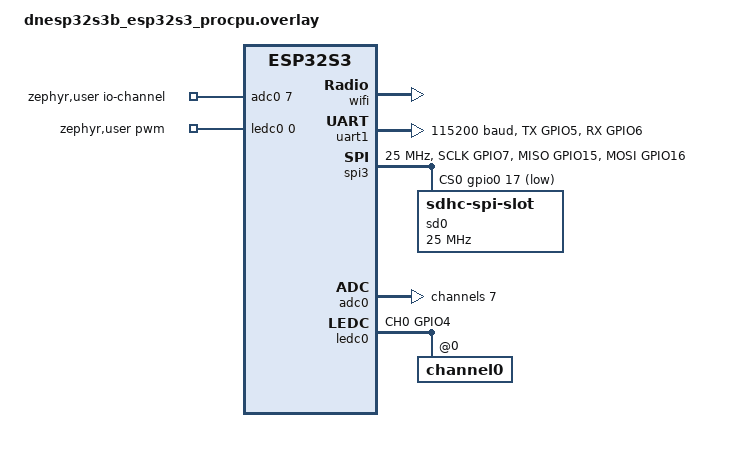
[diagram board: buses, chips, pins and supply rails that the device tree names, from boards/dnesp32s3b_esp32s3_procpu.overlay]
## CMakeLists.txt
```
# SPDX-License-Identifier: Apache-2.0

cmake_minimum_required(VERSION 3.20.0)

find_package(Zephyr REQUIRED HINTS $ENV{ZEPHYR_BASE})
project(neurolink_unit)

zephyr_include_directories(
  include
  include/runtime
)

target_sources(app PRIVATE
  src/main.c
  src/neuro_unit.c
  src/neuro_unit_dispatch.c
  src/neuro_unit_diag.c
  src/neuro_unit_response.c
  src/neuro_unit_update_service.c
  src/neuro_artifact_store.c
  src/neuro_app_command_registry.c
  src/neuro_app_callback_bridge.c
  src/neuro_state_registry.c
  src/neuro_unit_app_command.c
  src/neuro_update_manager.c
  src/neuro_recovery_seed_store.c
  src/neuro_lease_manager.c
  src/neuro_network_manager.c
  src/neuro_request_envelope.c
  src/neuro_request_policy.c
  src/neuro_protocol_codec.c
  src/neuro_unit_event.c
  src/zenoh/neuro_unit_zenoh_config.c
  src/zenoh/neuro_unit_zenoh.c
  src/neuro_unit_llext_exports.c
  src/runtime/app_runtime_exception.c
  src/runtime/app_runtime_elf_staging.c
  src/runtime/app_runtime.c
  src/runtime/app_runtime_cmd.c
  src/shell/neuro_unit_shell.c
  src/shell/neuro_unit_shell_lifecycle.c
  src/shell/neuro_unit_shell_network.c
  src/shell/neuro_unit_shell_storage.c
  src/shell/neuro_unit_shell_zenoh.c
  src/port/neuro_unit_port_contract.c
  src/port/neuro_unit_port_generic.c
  src/port/neuro_unit_port_generic_dnesp32s3b.c
)

target_sources_ifdef(CONFIG_NEUROLINK_PROTOCOL_CBOR app PRIVATE
  src/neuro_protocol_codec_cbor.c
)

target_include_directories(app PRIVATE
  include/port
)

if(CONFIG_NEUROLINK_ZENOH_PICO_DEBUG)
  target_compile_definitions(app PRIVATE
    ZENOH_LOG_DEBUG
    ZENOH_DEBUG=${CONFIG_NEUROLINK_ZENOH_PICO_DEBUG_LEVEL}
  )
endif()
```

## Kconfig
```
source "Kconfig.zephyr"

menu "NeuroLink Unit"

config NEUROLINK_NODE_ID
	string "NeuroLink node id"
	default "unit-01"
	help
	  Node id used in neuro key expressions and event payload metadata.

config NEUROLINK_ZENOH_MODE
	string "Zenoh mode"
	default "client"
	help
	  Zenoh session mode passed to Z_CONFIG_MODE_KEY.

config NEUROLINK_ZENOH_CONNECT
	string "Zenoh connect endpoint"
	default "tcp/192.168.2.95:7447"
	help
	  Default zenoh connect locator. Runtime override can replace this value.

config NEUROLINK_ZENOH_PICO_DEBUG
	bool "Enable zenoh-pico debug logs"
	default n
	help
	  Enable low-level zenoh-pico transport/session debug logs through
	  compile-time debug macros. Keep this disabled for the release default
	  path to avoid flooding the system logger during activate/update flows;
	  enable it explicitly for transport diagnostics.

config NEUROLINK_ZENOH_PICO_DEBUG_LEVEL
	int "zenoh-pico debug verbosity"
	range 0 3
	default 3 if NEUROLINK_ZENOH_PICO_DEBUG
	default 0
	help
	  Debug verbosity value passed to ZENOH_DEBUG. 0 disables detailed
	  traces; 3 enables maximum transport/session diagnostics.

config NEUROLINK_UNIT_DEBUG_MODE
	bool "Enable NeuroLink Unit framework debug mode"
	default n
	help
	  Enables framework-level diagnostics for Unit modules. This setting
	  is independent from zenoh-pico transport debug logs and is intended
	  for release-grade troubleshooting of Unit lifecycle flows.

config NEUROLINK_UNIT_DEBUG_VERBOSE_EVENTS
	bool "Enable verbose Unit event diagnostics"
	depends on NEUROLINK_UNIT_DEBUG_MODE
	default y
	help
	  Adds detailed event build/publish traces for Unit event helpers.

config NEUROLINK_UNIT_DEBUG_VERBOSE_STATE
	bool "Enable verbose Unit state diagnostics"
	depends on NEUROLINK_UNIT_DEBUG_MODE
	default y
	help
	  Adds detailed state snapshot traces when semantic state transitions
	  are committed to the Unit state registry.

config NEUROLINK_PROTOCOL_CBOR
	bool "Enable NeuroLink CBOR-v2 protocol codec support"
	default y
	select ZCBOR
	select ZCBOR_CANONICAL
	help
	  Builds the zcbor-backed NeuroLink CBOR-v2 codec facade. This does
	  not by itself switch runtime Zenoh payloads away from JSON-v2; the
	  runtime cutover is controlled by later protocol call-site changes.

config NEUROLINK_APP_STATIC_ELF_BUFFER_SIZE
	int "Static LLEXT ELF staging buffer size"
	default 0
	help
	  Reserves a dedicated RAM buffer for staging one LLEXT ELF before
	  llext_load(). This avoids relying on a large contiguous malloc block
	  after networking and Zenoh have fragmented the general system heap.

config NEUROLINK_APP_PREFER_EXTERNAL_ELF_BUFFER
	bool "Prefer external memory for LLEXT ELF staging buffer"
	default n
	help
	  Allocate the transient LLEXT ELF staging buffer from the active Unit
	  port memory provider before falling back to the static internal-RAM
	  buffer or malloc. Keep this experimental until provider-specific
	  hardware smoke proves LLEXT loading is safe from external memory.

config NEUROLINK_APP_PREFER_PSRAM_ELF_BUFFER
	bool "Legacy alias: prefer PSRAM for LLEXT ELF staging buffer"
	depends on ESP_SPIRAM
	select NEUROLINK_APP_PREFER_EXTERNAL_ELF_BUFFER
	default n
	help
	  Compatibility symbol for existing ESP32-S3 experiments. New code should
	  use NEUROLINK_APP_PREFER_EXTERNAL_ELF_BUFFER so external staging is
	  expressed through the port memory provider contract rather than through
	  an ESP-specific runtime policy name.

config NEUROLINK_APP_MAX_LOADED
	int "Maximum loaded LLEXT apps"
	range 0 16
	default 2
	help
	  Maximum number of apps that may be loaded at the same time. Use 0 for
	  no explicit Unit policy limit. Low-memory boards should keep this bounded
	  so LLEXT heap pressure fails predictably instead of growing until runtime
	  allocation fails.

config NEUROLINK_APP_MAX_RUNNING
	int "Maximum running LLEXT apps"
	range 1 16
	default 2
	help
	  Maximum number of apps that may be running at the same time. This value
	  must not exceed NEUROLINK_APP_MAX_LOADED when the loaded limit is nonzero.

config NEUROLINK_APP_REJECT_STAGING_TEXT_EXEC
	bool "Reject LLEXT text mapped directly from the ELF staging buffer"
	default n
	help
	  Fail app load if the loaded LLEXT text region points inside the ELF file
	  staging buffer. This protects targets such as ESP32-S3 from entering app
	  callbacks when writable LLEXT storage reuses a DRAM staging alias for
	  executable text.

config NEUROLINK_APP_FIXUP_STAGING_TEXT_ALIAS
	bool "Map staged LLEXT text metadata to the executable address alias"
	default n
	depends on NEUROLINK_APP_REJECT_STAGING_TEXT_EXEC
	help
	  After a successful LLEXT load, rewrite NeuroLink-visible extension text
	  metadata from a writable staging-buffer data alias to the architecture's
	  executable alias when such an alias is defined. This is an isolated
	  candidate for ESP32-S3 style IRAM/DRAM aliases and keeps Zephyr LLEXT
	  source unchanged.

endmenu
```

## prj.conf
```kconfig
CONFIG_LOG=y
CONFIG_LOG_DEFAULT_LEVEL=3

CONFIG_SHELL=y
CONFIG_SHELL_BACKEND_SERIAL=y
CONFIG_SHELL_STACK_SIZE=4096

CONFIG_GPIO=y
CONFIG_I2C=y
CONFIG_ADC=y
CONFIG_PWM=y
CONFIG_POSIX_API=y

CONFIG_NETWORKING=y
CONFIG_NET_NATIVE=y
CONFIG_NET_SOCKETS=y
CONFIG_NET_TCP=y
CONFIG_NET_UDP=y
CONFIG_NET_IPV4=y
CONFIG_NET_DHCPV4=y
CONFIG_NET_L2_ETHERNET=y
CONFIG_NET_L2_WIFI_MGMT=y
CONFIG_WIFI=y
CONFIG_WIFI_NM=y
CONFIG_NET_MGMT=y
CONFIG_NET_MGMT_EVENT=y
CONFIG_NET_MGMT_EVENT_INFO=y
CONFIG_DNS_RESOLVER=y
CONFIG_NET_PKT_RX_COUNT=20
CONFIG_NET_PKT_TX_COUNT=20
CONFIG_NET_BUF_RX_COUNT=48
CONFIG_NET_BUF_TX_COUNT=48
CONFIG_ESP_SPIRAM=y
CONFIG_SPIRAM_MODE_OCT=y
CONFIG_ESP_SPIRAM_HEAP_SIZE=2097152
CONFIG_ESP_WIFI_HEAP_SPIRAM=y
CONFIG_ESP32_WIFI_NET_ALLOC_SPIRAM=y

CONFIG_DISK_ACCESS=y
CONFIG_FILE_SYSTEM=y
CONFIG_FAT_FILESYSTEM_ELM=y
CONFIG_FS_FATFS_LFN=y
CONFIG_FS_FATFS_MOUNT_MKFS=y
CONFIG_SDHC=y
CONFIG_DISK_DRIVER_SDMMC=y

CONFIG_LLEXT=y
CONFIG_LLEXT_EDK=y
CONFIG_LLEXT_TYPE_ELF_RELOCATABLE=y
CONFIG_LLEXT_IMPORT_ALL_GLOBALS=y
CONFIG_LLEXT_EXPORT_DEVICES=y
CONFIG_LLEXT_EXPORT_SYMBOL_GROUP_DEVICE=y
CONFIG_LLEXT_HEAP_SIZE=64
CONFIG_LLEXT_LOG_LEVEL_DBG=y

CONFIG_ZENOH_PICO=y
CONFIG_ZENOH_PICO_MULTI_THREAD=y
CONFIG_ZENOH_PICO_PUBLICATION=y
CONFIG_ZENOH_PICO_QUERY=y
CONFIG_ZENOH_PICO_QUERYABLE=y
CONFIG_ZENOH_PICO_LINK_TCP=y
CONFIG_ZENOH_PICO_LINK_UDP_UNICAST=y
CONFIG_ZENOH_PICO_SCOUTING=y
CONFIG_MAX_PTHREAD_MUTEX_COUNT=24
CONFIG_MAX_PTHREAD_COND_COUNT=12
CONFIG_SYS_HEAP_RUNTIME_STATS=y

CONFIG_MAIN_STACK_SIZE=18432
CONFIG_SYSTEM_WORKQUEUE_STACK_SIZE=5120
CONFIG_HEAP_MEM_POOL_SIZE=53248
CONFIG_NEUROLINK_APP_PREFER_EXTERNAL_ELF_BUFFER=n
CONFIG_NEUROLINK_APP_PREFER_PSRAM_ELF_BUFFER=n
CONFIG_NEUROLINK_APP_STATIC_ELF_BUFFER_SIZE=32768
CONFIG_NEUROLINK_APP_MAX_LOADED=2
CONFIG_NEUROLINK_APP_MAX_RUNNING=2
CONFIG_NEUROLINK_APP_REJECT_STAGING_TEXT_EXEC=y
CONFIG_NEUROLINK_APP_FIXUP_STAGING_TEXT_ALIAS=y
```

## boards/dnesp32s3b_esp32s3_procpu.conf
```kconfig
CONFIG_WIFI_ESP32=y
CONFIG_NEUROLINK_NODE_ID="unit-01"
CONFIG_NEUROLINK_ZENOH_MODE="client"
CONFIG_NEUROLINK_ZENOH_CONNECT="tcp/192.168.2.94:7447"
```

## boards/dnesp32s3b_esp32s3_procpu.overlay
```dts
#include <zephyr/dt-bindings/adc/adc.h>
#include <zephyr/dt-bindings/pwm/pwm.h>

&wifi {
	status = "okay";
};

&pinctrl {
	uart1_j3_default: uart1_j3_default {
		group1 {
			pinmux = <UART1_TX_GPIO5>;
			output-high;
		};

		group2 {
			pinmux = <UART1_RX_GPIO6>;
			bias-pull-up;
		};
	};

	spim3_default: spim3_default {
		group1 {
			pinmux = <SPIM3_SCLK_GPIO7>,
				 <SPIM3_MISO_GPIO15>;
		};

		group2 {
			pinmux = <SPIM3_MOSI_GPIO16>;
			output-low;
		};
	};

	ledc0_neurolink_default: ledc0_neurolink_default {
		group1 {
			pinmux = <LEDC_CH0_GPIO4>;
			output-enable;
			bias-disable;
		};
	};
};

&{/chosen} {
	neurolink,uart-loopback = &uart1;
};

&uart1 {
	status = "okay";
	pinctrl-0 = <&uart1_j3_default>;
	pinctrl-names = "default";
	current-speed = <115200>;
};

&spi3 {
	status = "okay";
	#address-cells = <1>;
	#size-cells = <0>;
	pinctrl-0 = <&spim3_default>;
	pinctrl-names = "default";
	clock-frequency = <25000000>;
	cs-gpios = <&gpio0 17 GPIO_ACTIVE_LOW>;

	sd0: sd@0 {
		compatible = "zephyr,sdhc-spi-slot";
		reg = <0>;
		status = "okay";
		spi-max-frequency = <25000000>;

		mmc {
			compatible = "zephyr,sdmmc-disk";
			disk-name = "SD";
			status = "okay";
		};
	};
};

&adc0 {
	status = "okay";
	#address-cells = <1>;
	#size-cells = <0>;

	channel@7 {
		reg = <7>;
		zephyr,gain = "ADC_GAIN_1_4";
		zephyr,reference = "ADC_REF_INTERNAL";
		zephyr,acquisition-time = <ADC_ACQ_TIME_DEFAULT>;
		zephyr,resolution = <12>;
	};
};

&ledc0 {
	status = "okay";
	pinctrl-0 = <&ledc0_neurolink_default>;
	pinctrl-names = "default";
	#address-cells = <1>;
	#size-cells = <0>;

	channel0@0 {
		reg = <0>;
		timer = <0>;
	};
};

/ {
	zephyr,user {
		io-channels = <&adc0 7>;
		pwms = <&ledc0 0 PWM_HZ(1000) PWM_POLARITY_INVERTED>;
	};
};
```

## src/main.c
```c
#include <zephyr/kernel.h>
#include <zephyr/logging/log.h>

#include "app_runtime.h"
#include "neuro_unit_port.h"
#include "neuro_unit.h"

LOG_MODULE_REGISTER(neurolink_unit_main, LOG_LEVEL_INF);

static size_t app_policy_limit_from_config(int limit)
{
	return limit == 0 ? APP_RT_POLICY_NO_LIMIT : (size_t)limit;
}

int main(void)
{
	int ret;
	struct app_runtime_policy policy = {
		.max_loaded_apps = app_policy_limit_from_config(
			CONFIG_NEUROLINK_APP_MAX_LOADED),
		.max_running_apps = (size_t)CONFIG_NEUROLINK_APP_MAX_RUNNING,
		.allow_preemptive_suspend = true,
	};

	ret = neuro_unit_port_init();
	if (ret) {
		LOG_ERR("unit port init failed: %d", ret);
		return ret;
	}

	ret = app_runtime_init();
	if (ret) {
		LOG_ERR("app runtime init failed: %d", ret);
		return ret;
	}

	ret = app_runtime_set_policy(&policy);
	if (ret) {
		LOG_ERR("app runtime set policy failed: %d", ret);
		return ret;
	}

	ret = neuro_unit_start();
	if (ret) {
		LOG_ERR("neuro unit start failed: %d", ret);
		return ret;
	}

	LOG_INF("NeuroLink unit bootstrap initialized for node '%s'",
		CONFIG_NEUROLINK_NODE_ID);

	while (true) {
		k_sleep(K_SECONDS(60));
	}

	return 0;
}
```

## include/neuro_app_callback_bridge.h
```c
#ifndef NEURO_APP_CALLBACK_BRIDGE_H
#define NEURO_APP_CALLBACK_BRIDGE_H

#include <stddef.h>

#ifdef __cplusplus
extern "C" {
#endif

/* Runtime callback adapter boundary.
 *
 * App command service owns registry lookup, lease policy, reply shaping, and
 * service-level error mapping. This bridge owns only the call into app_runtime
 * and the runtime callback reply-buffer normalization contract.
 */
int neuro_app_callback_bridge_dispatch(const char *app_id,
	const char *command_name, const char *request_json, char *reply_buf,
	size_t reply_buf_len);

#ifdef __cplusplus
}
#endif

#endif
```

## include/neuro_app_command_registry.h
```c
#ifndef NEURO_APP_COMMAND_REGISTRY_H
#define NEURO_APP_COMMAND_REGISTRY_H

#include <stdbool.h>
#include <stddef.h>
#include <stdint.h>

#ifdef __cplusplus
extern "C" {
#endif

#define NEURO_APP_ID_MAX_LEN 31
#define NEURO_APP_COMMAND_NAME_MAX_LEN 31

enum neuro_app_command_state {
	NEURO_APPCMD_STATE_UNREGISTERED = 0,
	NEURO_APPCMD_STATE_REGISTERING,
	NEURO_APPCMD_STATE_REGISTERED,
	NEURO_APPCMD_STATE_ENABLED,
	NEURO_APPCMD_STATE_DISABLED,
	NEURO_APPCMD_STATE_FAILED,
	NEURO_APPCMD_STATE_REMOVED,
};

struct neuro_app_command_desc {
	char app_id[NEURO_APP_ID_MAX_LEN + 1];
	char command_name[NEURO_APP_COMMAND_NAME_MAX_LEN + 1];
	uint8_t visibility;
	bool lease_required;
	bool idempotent;
	uint32_t timeout_ms;
	uint8_t state;
};

int neuro_app_command_registry_init(void);
int neuro_app_command_registry_register(
	const struct neuro_app_command_desc *desc);
int neuro_app_command_registry_register_descriptors(const char *app_id,
	const struct neuro_app_command_desc *descs, size_t desc_count);
int neuro_app_command_registry_set_enabled(
	const char *app_id, const char *command_name, bool enabled);
int neuro_app_command_registry_set_app_enabled(
	const char *app_id, bool enabled);
int neuro_app_command_registry_remove_app(const char *app_id);
int neuro_app_command_registry_find(const char *app_id,
	const char *command_name, struct neuro_app_command_desc *out);

#ifdef __cplusplus
}
#endif

#endif
```

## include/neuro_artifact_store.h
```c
#ifndef NEURO_ARTIFACT_STORE_H
#define NEURO_ARTIFACT_STORE_H

#include <stdbool.h>
#include <stddef.h>

#ifdef __cplusplus
extern "C" {
#endif

#define NEURO_ARTIFACT_STORE_MAX_ENTRIES 4

enum neuro_artifact_state {
	NEURO_ARTIFACT_NONE = 0,
	NEURO_ARTIFACT_STAGED,
	NEURO_ARTIFACT_VERIFIED,
	NEURO_ARTIFACT_ACTIVE,
	NEURO_ARTIFACT_INVALID,
};

struct neuro_artifact_meta {
	bool used;
	char app_id[32];
	char transport[16];
	char artifact_key[128];
	char path[128];
	size_t size_bytes;
	size_t chunk_size;
	size_t chunks_received;
	enum neuro_artifact_state state;
};

struct neuro_artifact_store {
	struct neuro_artifact_meta entries[NEURO_ARTIFACT_STORE_MAX_ENTRIES];
};

void neuro_artifact_store_init(struct neuro_artifact_store *store);
int neuro_artifact_store_stage(struct neuro_artifact_store *store,
	const char *app_id, const char *transport, const char *artifact_key,
	const char *path, size_t size_bytes, size_t chunk_size,
	size_t chunks_received);
int neuro_artifact_store_set_state(struct neuro_artifact_store *store,
	const char *app_id, enum neuro_artifact_state state);
int neuro_artifact_store_remove(
	struct neuro_artifact_store *store, const char *app_id);
size_t neuro_artifact_store_export_entries(
	const struct neuro_artifact_store *store,
	struct neuro_artifact_meta *entries, size_t max_entries);
int neuro_artifact_store_import_entries(struct neuro_artifact_store *store,
	const struct neuro_artifact_meta *entries, size_t entry_count);
const struct neuro_artifact_meta *neuro_artifact_store_get(
	const struct neuro_artifact_store *store, const char *app_id);

#ifdef __cplusplus
}
#endif

#endif
```

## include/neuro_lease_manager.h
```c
#ifndef NEURO_LEASE_MANAGER_H
#define NEURO_LEASE_MANAGER_H

#include <stdbool.h>
#include <stdint.h>
#include <stddef.h>

#include "neuro_request_envelope.h"

#ifdef __cplusplus
extern "C" {
#endif

#define NEURO_LEASE_MANAGER_MAX_ENTRIES 4

struct neuro_lease_entry {
	bool active;
	char lease_id[32];
	char resource[48];
	char source_core[24];
	char source_agent[24];
	int priority;
	int64_t expires_at_ms;
};

struct neuro_lease_manager {
	struct neuro_lease_entry entries[NEURO_LEASE_MANAGER_MAX_ENTRIES];
};

struct neuro_lease_acquire_result {
	struct neuro_lease_entry acquired;
	bool preempted;
	struct neuro_lease_entry preempted_entry;
};

void neuro_lease_manager_init(struct neuro_lease_manager *manager);

int neuro_lease_manager_expire_all(struct neuro_lease_manager *manager);

void neuro_lease_manager_prune_expired(
	struct neuro_lease_manager *manager, int64_t now_ms);

int neuro_lease_manager_acquire(struct neuro_lease_manager *manager,
	const char *resource, const struct neuro_request_metadata *metadata,
	int ttl_ms, int64_t now_ms, struct neuro_lease_acquire_result *result);

int neuro_lease_manager_release(struct neuro_lease_manager *manager,
	const struct neuro_request_metadata *metadata, int64_t now_ms,
	struct neuro_lease_entry *released);

int neuro_lease_manager_require_resource(struct neuro_lease_manager *manager,
	const char *resource, const struct neuro_request_metadata *metadata,
	int64_t now_ms);

const struct neuro_lease_entry *neuro_lease_manager_entry_at(
	const struct neuro_lease_manager *manager, size_t index);

#ifdef __cplusplus
}
#endif

#endif
```

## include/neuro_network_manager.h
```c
#ifndef NEURO_NETWORK_MANAGER_H
#define NEURO_NETWORK_MANAGER_H

#include <stdbool.h>

#include <zephyr/net/net_ip.h>

#ifdef __cplusplus
extern "C" {
#endif

enum neuro_network_state {
	NEURO_NETWORK_DOWN = 0,
	NEURO_NETWORK_ADAPTER_READY,
	NEURO_NETWORK_LINK_READY,
	NEURO_NETWORK_ADDRESS_READY,
	NEURO_NETWORK_TRANSPORT_READY,
	NEURO_NETWORK_READY,
	NEURO_NETWORK_DEGRADED,
	NEURO_NETWORK_FAILED,
};

struct neuro_network_status {
	enum neuro_network_state state;
	bool iface_present;
	bool iface_up;
	bool address_ready;
	bool transport_ready;
	int ifindex;
	char ipv4_addr[NET_IPV4_ADDR_LEN];
};

int neuro_network_manager_collect_status(
	const char *transport_endpoint, struct neuro_network_status *status);
bool neuro_network_manager_is_ready(const struct neuro_network_status *status);
const char *neuro_network_state_to_str(enum neuro_network_state state);

#ifdef __cplusplus
}
#endif

#endif
```

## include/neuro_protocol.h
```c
/* SPDX-License-Identifier: Apache-2.0 */

#ifndef NEURO_PROTOCOL_H
#define NEURO_PROTOCOL_H

#include <zephyr/sys/printk.h>

#include <errno.h>
#include <stdbool.h>
#include <stddef.h>
#include <string.h>

#ifdef __cplusplus
extern "C" {
#endif

#define NEURO_PROTOCOL_VERSION_MAJOR 2U
#define NEURO_PROTOCOL_VERSION_MINOR 0U
#define NEURO_PROTOCOL_CBOR_SCHEMA_VERSION 2U

#define NEURO_PROTOCOL_FIELD_STATUS "status"
#define NEURO_PROTOCOL_FIELD_REQUEST_ID "request_id"
#define NEURO_PROTOCOL_FIELD_NODE_ID "node_id"
#define NEURO_PROTOCOL_FIELD_SOURCE_CORE "source_core"
#define NEURO_PROTOCOL_FIELD_SOURCE_AGENT "source_agent"
#define NEURO_PROTOCOL_FIELD_TARGET_NODE "target_node"
#define NEURO_PROTOCOL_FIELD_TIMEOUT_MS "timeout_ms"
#define NEURO_PROTOCOL_FIELD_PRIORITY "priority"
#define NEURO_PROTOCOL_FIELD_IDEMPOTENCY_KEY "idempotency_key"
#define NEURO_PROTOCOL_FIELD_LEASE_ID "lease_id"
#define NEURO_PROTOCOL_FIELD_STATUS_CODE "status_code"
#define NEURO_PROTOCOL_FIELD_MESSAGE "message"
#define NEURO_PROTOCOL_FIELD_FORWARDED "forwarded"
#define NEURO_PROTOCOL_FIELD_CALLBACK_ENABLED "callback_enabled"
#define NEURO_PROTOCOL_FIELD_TRIGGER_EVERY "trigger_every"
#define NEURO_PROTOCOL_FIELD_EVENT_NAME "event_name"

#define NEURO_PROTOCOL_ROUTE_LEN 128
#define NEURO_PROTOCOL_TOKEN_LEN 32
#define NEURO_PROTOCOL_EVENT_NAME_LEN 32

enum neuro_protocol_wire_encoding {
	NEURO_PROTOCOL_WIRE_JSON_V2 = 1,
	NEURO_PROTOCOL_WIRE_CBOR_V2 = 2,
};

enum neuro_protocol_status {
	NEURO_PROTOCOL_STATUS_OK = 0,
	NEURO_PROTOCOL_STATUS_ERROR,
	NEURO_PROTOCOL_STATUS_NOT_IMPLEMENTED,
	NEURO_PROTOCOL_STATUS_NO_REPLY,
	NEURO_PROTOCOL_STATUS_DECODE_ERROR,
};

enum neuro_protocol_error_class {
	NEURO_PROTOCOL_ERROR_BAD_REQUEST = 400,
	NEURO_PROTOCOL_ERROR_FORBIDDEN = 403,
	NEURO_PROTOCOL_ERROR_NOT_FOUND = 404,
	NEURO_PROTOCOL_ERROR_CONFLICT = 409,
	NEURO_PROTOCOL_ERROR_INTERNAL = 500,
	NEURO_PROTOCOL_ERROR_UNAVAILABLE = 503,
};

enum neuro_protocol_query_kind {
	NEURO_PROTOCOL_QUERY_DEVICE = 0,
	NEURO_PROTOCOL_QUERY_APPS,
	NEURO_PROTOCOL_QUERY_LEASES,
};

enum neuro_protocol_lease_action {
	NEURO_PROTOCOL_LEASE_ACQUIRE = 0,
	NEURO_PROTOCOL_LEASE_RELEASE,
};

enum neuro_protocol_update_action {
	NEURO_PROTOCOL_UPDATE_PREPARE = 0,
	NEURO_PROTOCOL_UPDATE_VERIFY,
	NEURO_PROTOCOL_UPDATE_ACTIVATE,
	NEURO_PROTOCOL_UPDATE_ROLLBACK,
	NEURO_PROTOCOL_UPDATE_DELETE,
	NEURO_PROTOCOL_UPDATE_RECOVER,
};

enum neuro_protocol_cbor_message_kind {
	NEURO_PROTOCOL_CBOR_MSG_QUERY_REQUEST = 1,
	NEURO_PROTOCOL_CBOR_MSG_LEASE_ACQUIRE_REQUEST = 2,
	NEURO_PROTOCOL_CBOR_MSG_LEASE_RELEASE_REQUEST = 3,
	NEURO_PROTOCOL_CBOR_MSG_APP_COMMAND_REQUEST = 4,
	NEURO_PROTOCOL_CBOR_MSG_CALLBACK_CONFIG_REQUEST = 5,
	NEURO_PROTOCOL_CBOR_MSG_UPDATE_PREPARE_REQUEST = 6,
	NEURO_PROTOCOL_CBOR_MSG_UPDATE_VERIFY_REQUEST = 7,
	NEURO_PROTOCOL_CBOR_MSG_UPDATE_ACTIVATE_REQUEST = 8,
	NEURO_PROTOCOL_CBOR_MSG_UPDATE_ROLLBACK_REQUEST = 9,
	NEURO_PROTOCOL_CBOR_MSG_UPDATE_DELETE_REQUEST = 10,
	NEURO_PROTOCOL_CBOR_MSG_ERROR_REPLY = 20,
	NEURO_PROTOCOL_CBOR_MSG_LEASE_REPLY = 21,
	NEURO_PROTOCOL_CBOR_MSG_QUERY_DEVICE_REPLY = 22,
	NEURO_PROTOCOL_CBOR_MSG_QUERY_APPS_REPLY = 23,
	NEURO_PROTOCOL_CBOR_MSG_QUERY_LEASES_REPLY = 24,
	NEURO_PROTOCOL_CBOR_MSG_UPDATE_PREPARE_REPLY = 25,
	NEURO_PROTOCOL_CBOR_MSG_UPDATE_VERIFY_REPLY = 26,
	NEURO_PROTOCOL_CBOR_MSG_UPDATE_ACTIVATE_REPLY = 27,
	NEURO_PROTOCOL_CBOR_MSG_UPDATE_ROLLBACK_REPLY = 28,
	NEURO_PROTOCOL_CBOR_MSG_APP_COMMAND_REPLY = 29,
	NEURO_PROTOCOL_CBOR_MSG_CALLBACK_EVENT = 40,
	NEURO_PROTOCOL_CBOR_MSG_UPDATE_EVENT = 41,
	NEURO_PROTOCOL_CBOR_MSG_STATE_EVENT = 42,
	NEURO_PROTOCOL_CBOR_MSG_LEASE_EVENT = 43,
};

enum neuro_protocol_cbor_key {
	NEURO_PROTOCOL_CBOR_KEY_SCHEMA_VERSION = 0,
	NEURO_PROTOCOL_CBOR_KEY_MESSAGE_KIND = 1,
	NEURO_PROTOCOL_CBOR_KEY_STATUS = 2,
	NEURO_PROTOCOL_CBOR_KEY_REQUEST_ID = 3,
	NEURO_PROTOCOL_CBOR_KEY_NODE_ID = 4,
	NEURO_PROTOCOL_CBOR_KEY_SOURCE_CORE = 5,
	NEURO_PROTOCOL_CBOR_KEY_SOURCE_AGENT = 6,
	NEURO_PROTOCOL_CBOR_KEY_TARGET_NODE = 7,
	NEURO_PROTOCOL_CBOR_KEY_TIMEOUT_MS = 8,
	NEURO_PROTOCOL_CBOR_KEY_PRIORITY = 9,
	NEURO_PROTOCOL_CBOR_KEY_IDEMPOTENCY_KEY = 10,
	NEURO_PROTOCOL_CBOR_KEY_LEASE_ID = 11,
	NEURO_PROTOCOL_CBOR_KEY_FORWARDED = 12,
	NEURO_PROTOCOL_CBOR_KEY_STATUS_CODE = 20,
	NEURO_PROTOCOL_CBOR_KEY_MESSAGE = 21,
	NEURO_PROTOCOL_CBOR_KEY_RESOURCE = 30,
	NEURO_PROTOCOL_CBOR_KEY_EXPIRES_AT_MS = 31,
	NEURO_PROTOCOL_CBOR_KEY_TTL_MS = 32,
	NEURO_PROTOCOL_CBOR_KEY_BOARD = 40,
	NEURO_PROTOCOL_CBOR_KEY_ZENOH_MODE = 41,
	NEURO_PROTOCOL_CBOR_KEY_SESSION_READY = 42,
	NEURO_PROTOCOL_CBOR_KEY_NETWORK_STATE = 43,
	NEURO_PROTOCOL_CBOR_KEY_IPV4 = 44,
	NEURO_PROTOCOL_CBOR_KEY_APP_ID = 50,
	NEURO_PROTOCOL_CBOR_KEY_COMMAND = 51,
	NEURO_PROTOCOL_CBOR_KEY_ARGS = 52,
	NEURO_PROTOCOL_CBOR_KEY_START_ARGS = 53,
	NEURO_PROTOCOL_CBOR_KEY_REASON = 54,
	NEURO_PROTOCOL_CBOR_KEY_PATH = 55,
	NEURO_PROTOCOL_CBOR_KEY_TRANSPORT = 56,
	NEURO_PROTOCOL_CBOR_KEY_ARTIFACT_KEY = 57,
	NEURO_PROTOCOL_CBOR_KEY_SIZE = 58,
	NEURO_PROTOCOL_CBOR_KEY_CHUNK_SIZE = 59,
	NEURO_PROTOCOL_CBOR_KEY_APP_COUNT = 60,
	NEURO_PROTOCOL_CBOR_KEY_RUNNING_COUNT = 61,
	NEURO_PROTOCOL_CBOR_KEY_SUSPENDED_COUNT = 62,
	NEURO_PROTOCOL_CBOR_KEY_APPS = 63,
	NEURO_PROTOCOL_CBOR_KEY_RUNTIME_STATE = 64,
	NEURO_PROTOCOL_CBOR_KEY_MANIFEST_PRESENT = 65,
	NEURO_PROTOCOL_CBOR_KEY_UPDATE_STATE = 66,
	NEURO_PROTOCOL_CBOR_KEY_ARTIFACT_STATE = 67,
	NEURO_PROTOCOL_CBOR_KEY_STABLE_REF = 68,
	NEURO_PROTOCOL_CBOR_KEY_LAST_ERROR = 69,
	NEURO_PROTOCOL_CBOR_KEY_ROLLBACK_REASON = 70,
	NEURO_PROTOCOL_CBOR_KEY_LEASES = 71,
	NEURO_PROTOCOL_CBOR_KEY_CALLBACK_ENABLED = 80,
	NEURO_PROTOCOL_CBOR_KEY_TRIGGER_EVERY = 81,
	NEURO_PROTOCOL_CBOR_KEY_EVENT_NAME = 82,
	NEURO_PROTOCOL_CBOR_KEY_INVOKE_COUNT = 83,
	NEURO_PROTOCOL_CBOR_KEY_START_COUNT = 84,
	NEURO_PROTOCOL_CBOR_KEY_CONFIG_CHANGED = 85,
	NEURO_PROTOCOL_CBOR_KEY_PUBLISH_RET = 86,
	NEURO_PROTOCOL_CBOR_KEY_ECHO = 87,
	NEURO_PROTOCOL_CBOR_KEY_STAGE = 90,
	NEURO_PROTOCOL_CBOR_KEY_DETAIL = 91,
	NEURO_PROTOCOL_CBOR_KEY_STATE_VERSION = 92,
	NEURO_PROTOCOL_CBOR_KEY_ACTION = 93,
};

static inline const char *neuro_protocol_wire_encoding_to_str(
	enum neuro_protocol_wire_encoding encoding)
{
	switch (encoding) {
	case NEURO_PROTOCOL_WIRE_JSON_V2:
		return "json-v2";
	case NEURO_PROTOCOL_WIRE_CBOR_V2:
		return "cbor-v2";
	default:
		return "unknown";
	}
}

static inline const char *neuro_protocol_status_to_str(
	enum neuro_protocol_status status)
{
	switch (status) {
	case NEURO_PROTOCOL_STATUS_OK:
		return "ok";
	case NEURO_PROTOCOL_STATUS_ERROR:
		return "error";
	case NEURO_PROTOCOL_STATUS_NOT_IMPLEMENTED:
		return "not_implemented";
	case NEURO_PROTOCOL_STATUS_NO_REPLY:
		return "no_reply";
	case NEURO_PROTOCOL_STATUS_DECODE_ERROR:
		return "decode_error";
	default:
		return "unknown";
	}
}

static inline const char *neuro_protocol_query_kind_to_segment(
	enum neuro_protocol_query_kind kind)
{
	switch (kind) {
	case NEURO_PROTOCOL_QUERY_DEVICE:
		return "device";
	case NEURO_PROTOCOL_QUERY_APPS:
		return "apps";
	case NEURO_PROTOCOL_QUERY_LEASES:
		return "leases";
	default:
		return NULL;
	}
}

static inline const char *neuro_protocol_lease_action_to_segment(
	enum neuro_protocol_lease_action action)
{
	switch (action) {
	case NEURO_PROTOCOL_LEASE_ACQUIRE:
		return "acquire";
	case NEURO_PROTOCOL_LEASE_RELEASE:
		return "release";
	default:
		return NULL;
	}
}

static inline const char *neuro_protocol_update_action_to_segment(
	enum neuro_protocol_update_action action)
{
	switch (action) {
	case NEURO_PROTOCOL_UPDATE_PREPARE:
		return "prepare";
	case NEURO_PROTOCOL_UPDATE_VERIFY:
		return "verify";
	case NEURO_PROTOCOL_UPDATE_ACTIVATE:
		return "activate";
	case NEURO_PROTOCOL_UPDATE_ROLLBACK:
		return "rollback";
	case NEURO_PROTOCOL_UPDATE_DELETE:
		return "delete";
	case NEURO_PROTOCOL_UPDATE_RECOVER:
		return "recover";
	default:
		return NULL;
	}
}

static inline bool neuro_protocol_token_is_valid(const char *token)
{
	if (token == NULL || token[0] == '\0') {
		return false;
	}

	for (; *token != '\0'; token++) {
		if (*token == '/') {
			return false;
		}
	}

	return true;
}

static inline int neuro_protocol_format_route(char *out, size_t out_len,
	const char *fmt, const char *node, const char *segment_a,
	const char *segment_b)
{
	int ret;

	if (out == NULL || out_len == 0U || fmt == NULL ||
		!neuro_protocol_token_is_valid(node)) {
		return -EINVAL;
	}

	ret = snprintk(out, out_len, fmt, node,
		segment_a != NULL ? segment_a : "",
		segment_b != NULL ? segment_b : "");
	if (ret < 0 || (size_t)ret >= out_len) {
		return -ENAMETOOLONG;
	}

	return 0;
}

static inline int neuro_protocol_build_query_route(char *out, size_t out_len,
	const char *node, enum neuro_protocol_query_kind kind)
{
	const char *segment = neuro_protocol_query_kind_to_segment(kind);

	if (segment == NULL) {
		return -EINVAL;
	}

	return neuro_protocol_format_route(
		out, out_len, "neuro/%s/query/%s%s", node, segment, NULL);
}

static inline int neuro_protocol_build_lease_route(char *out, size_t out_len,
	const char *node, enum neuro_protocol_lease_action action)
{
	const char *segment = neuro_protocol_lease_action_to_segment(action);

	if (segment == NULL) {
		return -EINVAL;
	}

	return neuro_protocol_format_route(
		out, out_len, "neuro/%s/cmd/lease/%s%s", node, segment, NULL);
}

static inline int neuro_protocol_build_app_command_route(char *out,
	size_t out_len, const char *node, const char *app_id,
	const char *command)
{
	int ret;

	if (out == NULL || out_len == 0U ||
		!neuro_protocol_token_is_valid(node) ||
		!neuro_protocol_token_is_valid(app_id) ||
		!neuro_protocol_token_is_valid(command)) {
		return -EINVAL;
	}

	ret = snprintk(
		out, out_len, "neuro/%s/cmd/app/%s/%s", node, app_id, command);
	if (ret < 0 || (size_t)ret >= out_len) {
		return -ENAMETOOLONG;
	}

	return 0;
}

static inline int neuro_protocol_build_update_route(char *out, size_t out_len,
	const char *node, const char *app_id,
	enum neuro_protocol_update_action action)
{
	const char *segment = neuro_protocol_update_action_to_segment(action);
	int ret;

	if (segment == NULL || out == NULL || out_len == 0U ||
		!neuro_protocol_token_is_valid(node) ||
		!neuro_protocol_token_is_valid(app_id)) {
		return -EINVAL;
	}

	ret = snprintk(out, out_len, "neuro/%s/update/app/%s/%s", node, app_id,
		segment);
	if (ret < 0 || (size_t)ret >= out_len) {
		return -ENAMETOOLONG;
	}

	return 0;
}

static inline int neuro_protocol_build_event_route(
	char *out, size_t out_len, const char *node, const char *suffix)
{
	int ret;

	if (out == NULL || out_len == 0U ||
		!neuro_protocol_token_is_valid(node) || suffix == NULL ||
		suffix[0] == '\0') {
		return -EINVAL;
	}

	ret = snprintk(out, out_len, "neuro/%s/event/%s", node, suffix);
	if (ret < 0 || (size_t)ret >= out_len) {
		return -ENAMETOOLONG;
	}

	return 0;
}

static inline int neuro_protocol_build_app_event_route(char *out,
	size_t out_len, const char *node, const char *app_id,
	const char *event_name)
{
	int ret;

	if (out == NULL || out_len == 0U ||
		!neuro_protocol_token_is_valid(node) ||
		!neuro_protocol_token_is_valid(app_id) ||
		!neuro_protocol_token_is_valid(event_name)) {
		return -EINVAL;
	}

	ret = snprintk(out, out_len, "neuro/%s/event/app/%s/%s", node, app_id,
		event_name);
	if (ret < 0 || (size_t)ret >= out_len) {
		return -ENAMETOOLONG;
	}

	return 0;
}

#ifdef __cplusplus
}
#endif

#endif
```

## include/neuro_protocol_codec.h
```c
/* SPDX-License-Identifier: Apache-2.0 */

#ifndef NEURO_PROTOCOL_CODEC_H
#define NEURO_PROTOCOL_CODEC_H

#include <stdbool.h>
#include <stddef.h>
#include <stdint.h>

#ifdef __cplusplus
extern "C" {
#endif

struct neuro_protocol_error_reply {
	const char *request_id;
	const char *node_id;
	int status_code;
	const char *message;
};

struct neuro_protocol_lease_reply {
	const char *request_id;
	const char *node_id;
	const char *lease_id;
	const char *resource;
	int64_t expires_at_ms;
	bool include_expires_at_ms;
};

struct neuro_protocol_query_device_reply {
	const char *request_id;
	const char *node_id;
	const char *board;
	const char *zenoh_mode;
	bool session_ready;
	const char *network_state;
	const char *ipv4;
};

struct neuro_protocol_callback_event {
	const char *app_id;
	const char *event_name;
	unsigned int invoke_count;
	int start_count;
};

struct neuro_protocol_app_command_reply {
	const char *command_name;
	unsigned int invoke_count;
	bool callback_enabled;
	int trigger_every;
	const char *event_name;
	bool config_changed;
	int publish_ret;
	const char *echo;
};

struct neuro_protocol_request_metadata {
	char request_id[32];
	char source_core[32];
	char source_agent[24];
	char target_node[32];
	char lease_id[32];
	char idempotency_key[32];
	uint32_t timeout_ms;
	int priority;
	bool forwarded;
};

struct neuro_protocol_callback_config {
	bool has_callback_enabled;
	bool callback_enabled;
	bool has_trigger_every;
	int trigger_every;
	bool has_event_name;
	char event_name[32];
};

int neuro_protocol_encode_error_reply_json(char *json, size_t json_len,
	const struct neuro_protocol_error_reply *reply);
int neuro_protocol_encode_lease_reply_json(char *json, size_t json_len,
	const struct neuro_protocol_lease_reply *reply);
int neuro_protocol_encode_query_device_reply_json(char *json, size_t json_len,
	const struct neuro_protocol_query_device_reply *reply);
int neuro_protocol_encode_callback_event_json(char *json, size_t json_len,
	const struct neuro_protocol_callback_event *event);
int neuro_protocol_encode_app_command_reply_json(char *json, size_t json_len,
	const struct neuro_protocol_app_command_reply *reply);
int neuro_protocol_decode_request_metadata_json(
	const char *json, struct neuro_protocol_request_metadata *metadata);
int neuro_protocol_decode_callback_config_json(
	const char *json, struct neuro_protocol_callback_config *config);

#ifdef __cplusplus
}
#endif

#endif
```

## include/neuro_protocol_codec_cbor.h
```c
/* SPDX-License-Identifier: Apache-2.0 */

#ifndef NEURO_PROTOCOL_CODEC_CBOR_H
#define NEURO_PROTOCOL_CODEC_CBOR_H

#include <stdbool.h>
#include <stddef.h>
#include <stdint.h>

#include "neuro_protocol.h"
#include "neuro_protocol_codec.h"

#ifdef __cplusplus
extern "C" {
#endif

struct neuro_protocol_cbor_envelope {
	uint32_t schema_version;
	enum neuro_protocol_cbor_message_kind message_kind;
};

struct neuro_protocol_query_app_cbor {
	const char *app_id;
	const char *runtime_state;
	const char *path;
	uint32_t priority;
	bool manifest_present;
	const char *update_state;
	const char *artifact_state;
	const char *stable_ref;
	const char *last_error;
	const char *rollback_reason;
};

struct neuro_protocol_query_apps_reply_cbor {
	const char *request_id;
	const char *node_id;
	uint32_t app_count;
	uint32_t running_count;
	uint32_t suspended_count;
	const struct neuro_protocol_query_app_cbor *apps;
	size_t app_count_listed;
};

struct neuro_protocol_query_lease_cbor {
	const char *lease_id;
	const char *resource;
	const char *source_core;
	const char *source_agent;
	int32_t priority;
	int64_t expires_at_ms;
};

struct neuro_protocol_query_leases_reply_cbor {
	const char *request_id;
	const char *node_id;
	const struct neuro_protocol_query_lease_cbor *leases;
	size_t lease_count;
};

struct neuro_protocol_update_prepare_request_cbor {
	char transport[32];
	char artifact_key[96];
	uint32_t size;
	uint32_t chunk_size;
};

struct neuro_protocol_request_fields_cbor {
	char resource[64];
	char args_json[256];
	uint32_t ttl_ms;
	char start_args[96];
	char reason[64];
	char transport[32];
	char artifact_key[96];
	uint32_t size;
	uint32_t chunk_size;
	bool has_callback_enabled;
	bool callback_enabled;
	bool has_trigger_every;
	int32_t trigger_every;
	bool has_event_name;
	char event_name[32];
};

struct neuro_protocol_update_reply_cbor {
	const char *request_id;
	const char *node_id;
	const char *app_id;
	const char *path;
	const char *transport;
	uint32_t size;
	const char *reason;
};

struct neuro_protocol_update_event_cbor {
	const char *node_id;
	const char *app_id;
	const char *stage;
	const char *status;
	const char *detail;
};

struct neuro_protocol_state_event_cbor {
	const char *node_id;
	uint32_t app_count;
	uint32_t running_count;
	const char *network_state;
};

struct neuro_protocol_lease_event_cbor {
	const char *node_id;
	const char *action;
	const char *lease_id;
	const char *resource;
	const char *source_core;
	const char *source_agent;
	int32_t priority;
};

bool neuro_protocol_cbor_message_kind_is_valid(uint32_t message_kind);
int neuro_protocol_cbor_encode_envelope_header(uint8_t *payload,
	size_t payload_len, enum neuro_protocol_cbor_message_kind message_kind,
	size_t *encoded_len);
int neuro_protocol_cbor_decode_envelope_header(const uint8_t *payload,
	size_t payload_len, struct neuro_protocol_cbor_envelope *envelope);
int neuro_protocol_encode_error_reply_cbor(uint8_t *payload, size_t payload_len,
	const struct neuro_protocol_error_reply *reply, size_t *encoded_len);
int neuro_protocol_encode_lease_reply_cbor(uint8_t *payload, size_t payload_len,
	const struct neuro_protocol_lease_reply *reply, size_t *encoded_len);
int neuro_protocol_encode_query_device_reply_cbor(uint8_t *payload,
	size_t payload_len,
	const struct neuro_protocol_query_device_reply *reply,
	size_t *encoded_len);
int neuro_protocol_encode_callback_event_cbor(uint8_t *payload,
	size_t payload_len, const struct neuro_protocol_callback_event *event,
	size_t *encoded_len);
int neuro_protocol_encode_app_command_reply_cbor(uint8_t *payload,
	size_t payload_len,
	const struct neuro_protocol_app_command_reply *reply,
	size_t *encoded_len);
int neuro_protocol_decode_request_metadata_cbor(const uint8_t *payload,
	size_t payload_len, struct neuro_protocol_request_metadata *metadata,
	enum neuro_protocol_cbor_message_kind *message_kind);
int neuro_protocol_decode_callback_config_cbor(const uint8_t *payload,
	size_t payload_len, struct neuro_protocol_callback_config *config);
int neuro_protocol_decode_update_prepare_request_cbor(const uint8_t *payload,
	size_t payload_len,
	struct neuro_protocol_update_prepare_request_cbor *request);
int neuro_protocol_decode_request_fields_cbor(const uint8_t *payload,
	size_t payload_len, struct neuro_protocol_request_fields_cbor *fields);
int neuro_protocol_encode_query_apps_reply_cbor(uint8_t *payload,
	size_t payload_len,
	const struct neuro_protocol_query_apps_reply_cbor *reply,
	size_t *encoded_len);
int neuro_protocol_encode_query_leases_reply_cbor(uint8_t *payload,
	size_t payload_len,
	const struct neuro_protocol_query_leases_reply_cbor *reply,
	size_t *encoded_len);
int neuro_protocol_encode_update_prepare_reply_cbor(uint8_t *payload,
	size_t payload_len,
	const struct neuro_protocol_update_reply_cbor *reply,
	size_t *encoded_len);
int neuro_protocol_encode_update_verify_reply_cbor(uint8_t *payload,
	size_t payload_len,
	const struct neuro_protocol_update_reply_cbor *reply,
	size_t *encoded_len);
int neuro_protocol_encode_update_activate_reply_cbor(uint8_t *payload,
	size_t payload_len,
	const struct neuro_protocol_update_reply_cbor *reply,
	size_t *encoded_len);
int neuro_protocol_encode_update_rollback_reply_cbor(uint8_t *payload,
	size_t payload_len,
	const struct neuro_protocol_update_reply_cbor *reply,
	size_t *encoded_len);
int neuro_protocol_encode_update_event_cbor(uint8_t *payload,
	size_t payload_len,
	const struct neuro_protocol_update_event_cbor *event,
	size_t *encoded_len);
int neuro_protocol_encode_state_event_cbor(uint8_t *payload, size_t payload_len,
	const struct neuro_protocol_state_event_cbor *event,
	size_t *encoded_len);
int neuro_protocol_encode_lease_event_cbor(uint8_t *payload, size_t payload_len,
	const struct neuro_protocol_lease_event_cbor *event,
	size_t *encoded_len);

#ifdef __cplusplus
}
#endif

#endif
```

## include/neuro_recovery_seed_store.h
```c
#ifndef NEURO_RECOVERY_SEED_STORE_H
#define NEURO_RECOVERY_SEED_STORE_H

#include <stdbool.h>
#include <stddef.h>
#include <stdint.h>

#include <zephyr/fs/fs.h>

#include "neuro_artifact_store.h"
#include "neuro_update_manager.h"

#ifdef __cplusplus
extern "C" {
#endif

#define NEURO_RECOVERY_SEED_MAGIC 0x4E525344U
#define NEURO_RECOVERY_SEED_VERSION 1U
#define NEURO_RECOVERY_SEED_MIN_SUPPORTED_VERSION 1U
#define NEURO_RECOVERY_SEED_MAX_SUPPORTED_VERSION NEURO_RECOVERY_SEED_VERSION
#define NEURO_RECOVERY_SEED_MAX_ENTRIES 4U
#define NEURO_RECOVERY_SEED_PATH_DEFAULT "/SD:/recovery.seed"
#define NEURO_RECOVERY_SEED_PATH_LEGACY "/SD:/neuro/recovery.seed"

struct neuro_recovery_seed_entry {
	bool used;
	char app_id[32];
	enum neuro_update_state update_state;
	char update_last_error[64];
	char rollback_reason[64];
	char stable_ref[96];
	enum neuro_artifact_state artifact_state;
	char artifact_transport[16];
	char artifact_key[128];
	char artifact_path[128];
	uint32_t size_bytes;
	uint32_t chunk_size;
	uint32_t chunks_received;
};

struct neuro_recovery_seed_snapshot {
	size_t entry_count;
	struct neuro_recovery_seed_entry
		entries[NEURO_RECOVERY_SEED_MAX_ENTRIES];
};

struct neuro_recovery_seed_store {
	char path[128];
	char tmp_path[128];
	char bak_path[128];
	char legacy_path[128];
};

struct neuro_recovery_seed_store_fs_ops {
	int (*stat)(const char *path, struct fs_dirent *entry);
	int (*mkdir)(const char *path);
	int (*rename)(const char *from, const char *to);
	int (*unlink)(const char *path);
	int (*open)(struct fs_file_t *file, const char *path, fs_mode_t flags);
	ssize_t (*read)(struct fs_file_t *file, void *ptr, size_t size);
	ssize_t (*write)(struct fs_file_t *file, const void *ptr, size_t size);
	int (*sync)(struct fs_file_t *file);
	int (*close)(struct fs_file_t *file);
};

void neuro_recovery_seed_store_init(
	struct neuro_recovery_seed_store *store, const char *path);

void neuro_recovery_seed_store_set_fs_ops(
	const struct neuro_recovery_seed_store_fs_ops *ops);
void neuro_recovery_seed_store_reset_fs_ops(void);

int neuro_recovery_seed_build_snapshot(
	const struct neuro_update_manager *update_manager,
	const struct neuro_artifact_store *artifact_store,
	struct neuro_recovery_seed_snapshot *snapshot);
int neuro_recovery_seed_apply_snapshot(
	const struct neuro_recovery_seed_snapshot *snapshot,
	struct neuro_update_manager *update_manager,
	struct neuro_artifact_store *artifact_store);

int neuro_recovery_seed_encode(
	const struct neuro_recovery_seed_snapshot *snapshot, uint8_t *buf,
	size_t buf_len, size_t *out_len);
int neuro_recovery_seed_decode(const uint8_t *buf, size_t buf_len,
	struct neuro_recovery_seed_snapshot *snapshot);

int neuro_recovery_seed_store_save(
	const struct neuro_recovery_seed_store *store,
	const struct neuro_recovery_seed_snapshot *snapshot);
int neuro_recovery_seed_store_load(
	const struct neuro_recovery_seed_store *store,
	struct neuro_recovery_seed_snapshot *snapshot);

#ifdef __cplusplus
}
#endif

#endif
```

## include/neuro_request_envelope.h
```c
/* SPDX-License-Identifier: Apache-2.0 */

#ifndef NEURO_REQUEST_ENVELOPE_H
#define NEURO_REQUEST_ENVELOPE_H

#include <stdbool.h>
#include <stddef.h>
#include <stdint.h>

#include "neuro_unit_app_api.h"

#ifdef __cplusplus
extern "C" {
#endif

struct neuro_request_metadata {
	char request_id[32];
	char source_core[32];
	char source_agent[24];
	char target_node[32];
	char lease_id[32];
	char idempotency_key[32];
	uint32_t timeout_ms;
	int priority;
	bool forwarded;
};

enum neuro_request_metadata_requirements {
	NEURO_REQ_META_REQUIRE_REQUEST_ID = 1U << 0,
	NEURO_REQ_META_REQUIRE_SOURCE_CORE = 1U << 1,
	NEURO_REQ_META_REQUIRE_SOURCE_AGENT = 1U << 2,
	NEURO_REQ_META_REQUIRE_TARGET_NODE = 1U << 3,
	NEURO_REQ_META_REQUIRE_TIMEOUT_MS = 1U << 4,
	NEURO_REQ_META_REQUIRE_LEASE_ID = 1U << 5,
	NEURO_REQ_META_REQUIRE_IDEMPOTENCY_KEY = 1U << 6,
	NEURO_REQ_META_REQUIRE_PRIORITY = 1U << 7,
};

#define NEURO_REQ_META_REQUIRE_COMMON                                          \
	(NEURO_REQ_META_REQUIRE_REQUEST_ID |                                   \
		NEURO_REQ_META_REQUIRE_SOURCE_CORE |                           \
		NEURO_REQ_META_REQUIRE_SOURCE_AGENT |                          \
		NEURO_REQ_META_REQUIRE_TARGET_NODE |                           \
		NEURO_REQ_META_REQUIRE_TIMEOUT_MS)

void neuro_request_metadata_init(struct neuro_request_metadata *metadata);
bool neuro_request_metadata_parse(
	const char *json, struct neuro_request_metadata *metadata);
bool neuro_request_metadata_validate(
	const struct neuro_request_metadata *metadata, uint32_t required_fields,
	const char *expected_target_node, char *error_buf,
	size_t error_buf_len);
#ifdef __cplusplus
}
#endif

#endif
```

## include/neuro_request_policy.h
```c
#ifndef NEURO_REQUEST_POLICY_H
#define NEURO_REQUEST_POLICY_H

#include <stdint.h>

#ifdef __cplusplus
extern "C" {
#endif

uint32_t neuro_request_policy_required_fields_for_command(const char *key);
uint32_t neuro_request_policy_required_fields_for_query(const char *key);
uint32_t neuro_request_policy_required_fields_for_update_action(
	const char *action);

#ifdef __cplusplus
}
#endif

#endif
```

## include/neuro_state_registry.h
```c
#ifndef NEURO_STATE_REGISTRY_H
#define NEURO_STATE_REGISTRY_H

#include <stdbool.h>
#include <stddef.h>
#include <stdint.h>

#include <zephyr/kernel.h>
#include <zephyr/net/net_ip.h>

#include "neuro_network_manager.h"

#ifdef __cplusplus
extern "C" {
#endif

#define NEURO_STATE_NODE_ID_MAX_LEN 31
#define NEURO_STATE_UPDATE_APP_ID_MAX_LEN 31
#define NEURO_STATE_UPDATE_STAGE_MAX_LEN 31
#define NEURO_STATE_UPDATE_STATUS_MAX_LEN 15

enum neuro_state_health {
	NEURO_STATE_HEALTH_UNKNOWN = 0,
	NEURO_STATE_HEALTH_OK,
	NEURO_STATE_HEALTH_DEGRADED,
	NEURO_STATE_HEALTH_FAILED,
};

struct neuro_state_snapshot {
	char node_id[NEURO_STATE_NODE_ID_MAX_LEN + 1];
	uint64_t version;
	bool session_ready;
	enum neuro_network_state network_state;
	char ipv4_addr[NET_IPV4_ADDR_LEN];
	enum neuro_state_health health;
	size_t app_count;
	size_t running_count;
	size_t lease_count;
	char update_app_id[NEURO_STATE_UPDATE_APP_ID_MAX_LEN + 1];
	char update_stage[NEURO_STATE_UPDATE_STAGE_MAX_LEN + 1];
	char update_status[NEURO_STATE_UPDATE_STATUS_MAX_LEN + 1];
};

struct neuro_state_registry {
	struct k_mutex lock;
	struct neuro_state_snapshot snapshot;
};

void neuro_state_registry_init(
	struct neuro_state_registry *registry, const char *node_id);

void neuro_state_registry_set_session_ready(
	struct neuro_state_registry *registry, bool ready);
void neuro_state_registry_set_network(struct neuro_state_registry *registry,
	const struct neuro_network_status *status);
void neuro_state_registry_set_runtime_counters(
	struct neuro_state_registry *registry, size_t app_count,
	size_t running_count);
void neuro_state_registry_set_lease_count(
	struct neuro_state_registry *registry, size_t lease_count);
void neuro_state_registry_set_update_state(
	struct neuro_state_registry *registry, const char *app_id,
	const char *stage, const char *status);

uint64_t neuro_state_registry_version(
	const struct neuro_state_registry *registry);
void neuro_state_registry_get_snapshot(
	const struct neuro_state_registry *registry,
	struct neuro_state_snapshot *snapshot);
const char *neuro_state_health_to_str(enum neuro_state_health health);

#ifdef __cplusplus
}
#endif

#endif
```
